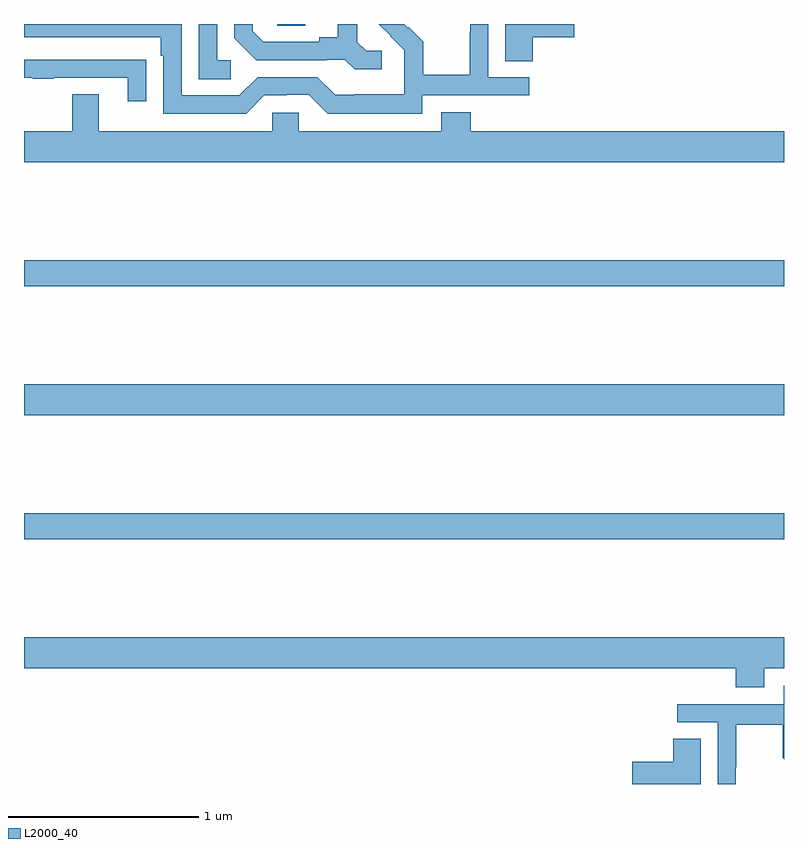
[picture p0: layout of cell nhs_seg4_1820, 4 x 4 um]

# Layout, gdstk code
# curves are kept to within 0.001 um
import gdstk
lib = gdstk.Library(unit=1e-6, precision=1e-09)
def R(c, l, rs):  # rectangles x0, y0, x1, y1
    for r in rs: c.add(gdstk.rectangle(r[:2], r[2:], *l))
def P(c, l, *ps):  # polygons
    for p in ps: c.add(gdstk.Polygon(p, *l))
L2000_40 = (2000, 40)

nhs_seg4_1820 = lib.new_cell('nhs_seg4_1820')
R(nhs_seg4_1820, L2000_40, [(205,776.188,209,776.324), (205,776.84,209,777.004), (205,777.52,209,777.656), (206.334,778.891,206.479,778.9)])
P(nhs_seg4_1820, L2000_40, [(206.884,778.758),(206.802,778.758),(206.755,778.805),(206.755,778.9),(206.651,778.9),(206.651,778.829),(206.555,778.829),(206.555,778.806),(206.26,778.806),(206.203,778.863),(206.203,778.9),(206.106,778.9),(206.106,778.826),(206.222,778.71),(206.594,778.71),(206.594,778.713),(206.688,778.713),(206.74,778.661),(206.884,778.661)],
  [(207.096,778.524),(207.658,778.524),(207.658,778.62),(207.444,778.62),(207.444,778.9),(207.348,778.9),(207.348,778.856),(207.346,778.856),(207.346,778.633),(207.101,778.633),(207.101,778.807),(207.024,778.884),(207.021,778.881),(207.002,778.9),(206.866,778.9),(207.002,778.762),(207.002,778.665),(207,778.665),(207,778.531),(206.737,778.531),(206.737,778.527),(206.637,778.527),(206.544,778.62),(206.229,778.62),(206.133,778.524),(205.83,778.524),(205.83,778.9),(205,778.9),(205,778.83),(205.721,778.83),(205.721,778.733),(205.734,778.733),(205.734,778.428),(206.169,778.428),(206.265,778.524),(206.384,778.524),(206.384,778.527),(206.499,778.527),(206.599,778.427),(207.096,778.427)],
  [(207.677,778.829),(207.895,778.829),(207.895,778.9),(207.533,778.9),(207.533,778.705),(207.677,778.705)],
  [(206.089,778.71),(206.016,778.71),(206.016,778.9),(205.92,778.9),(205.92,778.609),(206.089,778.609)],
  [(205.643,778.712),(205.541,778.712),(205.541,778.713),(205,778.713),(205,778.617),(205.045,778.617),(205.045,778.612),(205.157,778.612),(205.157,778.617),(205.547,778.617),(205.547,778.494),(205.643,778.494)],
  [(209,778.336),(207.35,778.336),(207.35,778.435),(207.197,778.435),(207.197,778.336),(206.445,778.336),(206.445,778.434),(206.307,778.434),(206.307,778.336),(205.393,778.336),(205.393,778.531),(205.253,778.531),(205.253,778.336),(205,778.336),(205,778.172),(209,778.172)],
  [(208.897,775.508),(209,775.508),(209,775.672),(205,775.672),(205,775.508),(208.745,775.508),(208.745,775.409),(208.897,775.409)],
  [(208.746,774.988),(208.749,774.988),(208.749,775.212),(208.993,775.212),(208.993,775.037),(209,775.03),(209,775.417),(208.998,775.417),(208.998,775.32),(208.437,775.32),(208.437,775.224),(208.65,775.224),(208.65,774.9),(208.746,774.9)],
  [(208.561,775.139),(208.418,775.139),(208.418,775.016),(208.2,775.016),(208.2,774.9),(208.561,774.9)])

lib.write_gds('nhs_seg4_1820.gds')
